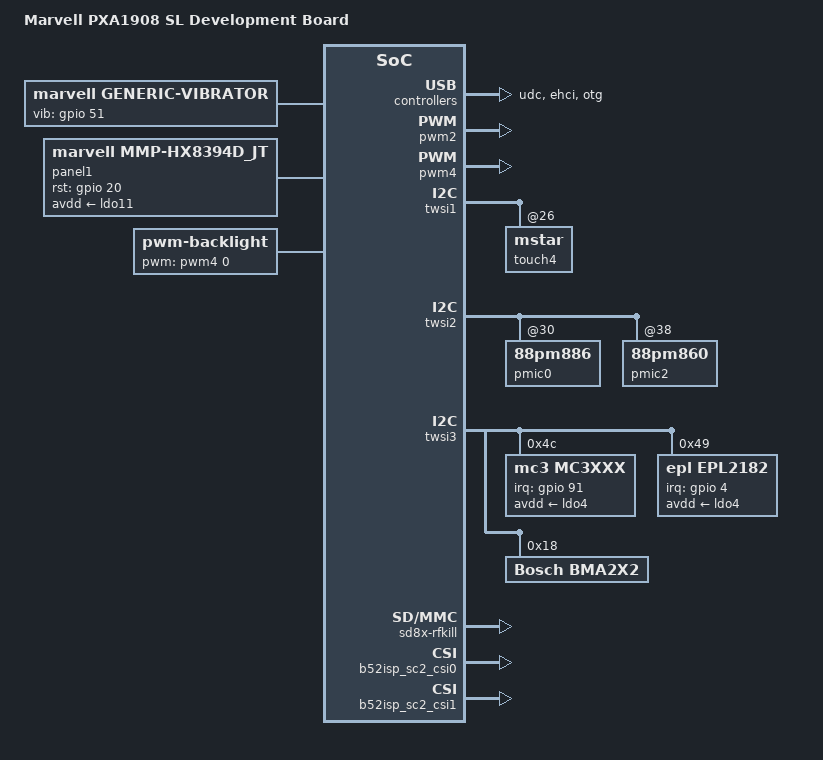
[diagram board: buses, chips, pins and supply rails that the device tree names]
/*
 *  Copyright (C) 2014 Marvell Technology Group Ltd.
 *  Author: Qiming Wu <wuqm@marvell.com>
 *
 *  This program is free software; you can redistribute it and/or modify
 *  it under the terms of the GNU General Public License version 2 as
 *  publishhed by the Free Software Foundation.
 */

/dts-v1/;
/memreserve/ 0x08100000 0x00040000;	/* ramoops buffer (256KB) */
/memreserve/ 0x09000000 0x01000000;	/* GPU Reserved mem (16MB) */
/memreserve/ 0x17000000 0x01800000;	/* Frame buffer (24MB) */
/memreserve/ 0x0a000000 0x00080000;	/* CM3 shared buffer(512KB) */
#include "pxa1908-board-common.dtsi"

/ {
	model = "Marvell PXA1908 SL Development Board";
	compatible = "marvell,pxa1908";

	soc {
		axi@d4200000 {  /* AXI */
			/* SD card */
			sdh0: sdh@d4280000 {
				cd-gpios = <>;
				marvell,sdh-dtr-data = <PXA_MMC_TIMING_LEGACY PXA_SDH_DTR_26M PXA_SDH_DTR_52M 0 0 0 0 0>,
						<PXA_MMC_TIMING_SD_HS PXA_SDH_DTR_52M PXA_SDH_DTR_104M 0 0 0 0 0>,
						<PXA_MMC_TIMING_MAX PXA_SDH_DTR_PS_NONE PXA_SDH_DTR_104M 0 0 0 0 0>;
				/* as HW design, only SD Card's host has AIB_MMC register */
				marvell,sdh-quirks2 = <(
						SDHCI_QUIRK2_SET_AIB_MMC |
						SDHCI_QUIRK2_TUNING_ADMA_BROKEN |
						SDHCI_QUIRK2_TIMEOUT_SHORT |
						SDHCI_QUIRK2_DMA_CLOCK_FORCE_ON |
						SDHCI_QUIRK2_FIXED_VOLTAGE
						)>;
			};

			usbphy: usbphy@d4207000 {
				status = "okay";
			};

			udc: udc@d4208100 {
				status = "okay";
			};

			ehci: ehci@d4208100 {
				status = "okay";
			};

			otg: otg@d4208100 {
				status = "okay";
			};
		};

		apb@d4000000 {
			pwm2: pwm@d401a400 {
				compatible = "marvell,pxa25x-pwm";
				reg = <0xd401a400 0x10>;
				#pwm-cells = <2>;
				clocks = <&soc_clocks PXA1U88_CLK_PWM1>;
				status = "okay";
			};
		        pwm4: pwm@d401ac00 {
                                pinctrl-names = "default"; pinctrl-0 = <&pwm4_pins>;
                                status = "okay";
                        };

			keypad: keypad@d4012000 {
				marvell,direct-keys;
				marvell,direct-key-low-active;
				marvell,keypad-lpm-mod;
				marvell,direct-key-count = <2>;
				marvell,direct-key-mask = <0xff>;
				marvell,direct-key-map = < 0x72
							   0x73>;
				marvell,debounce-interval = <30>;
				pinctrl-names = "default";
				pinctrl-0 = <&keypad_in_func>;
				status = "okay";
			};

			pmx: pinmux@d401e000 {
				mfp_pins_group_0: mfp_pins_group_0 {
					pinctrl-single,pins = <
						DF_IO9 AF0
						DF_IO10 AF0
						DF_IO11 AF0
						DF_IO12 AF0
						DF_IO13 AF0
						DF_IO15 AF0
					>;
					DS_MEDIUM;PULL_DOWN;EDGE_NONE;LPM_NONE;
				};

				pwm2_pin: pwm2_pin {
					pinctrl-single,pins = <
						GPIO51 AF2
					>;
					MFP_DEFAULT;
				};

			        pwm4_pins: pwm4_pin {
                                        pinctrl-single,pins = <
                                                DF_IO8 AF4
                                        >;
                                        MFP_DEFAULT;
                                };

				sspa1_func: sspa1_func {
					pinctrl-single,pins = <
						GPIO25 AF7
						GPIO26 AF7
						GPIO27 AF7
						GPIO28 AF7
					>;
					DS_MEDIUM;PULL_NONE;EDGE_NONE;LPM_NONE;
				};
			};

			twsi1: i2c@d4010800 {
				touch2: msg2133@26 {
					focaltech,virtual_key_cfg = <1>;
					status = "disable";
				};
				touch4: mstar@26 {
					/*mstar,virtual_key_cfg = <1>;*/
					status = "okay";
				};
			};

			twsi2: i2c@d4037000 {
				pmic0: 88pm886@30 {
					status = "okay";
				};
				pmic2: 88pm860@38 {
					status = "okay";
				};
			};

			twsi3: i2c@d4013800 {
				mc3xxx@4c {
					compatible = "mc3, mc3xxx";
					reg = <0x4c>;
					interrupt-parent = <&gpio>;
					interrupts = <91 0x1>;
					irq-gpios = <&gpio 91 0>;
					avdd-supply = <&ldo4>;
					orientation = <5>;
					status = "okay";
				};
				epl2182@49 {
					compatible = "epl,epl2182";
					reg = <0x49>;
					interrupt-parent = <&gpio>;
					interrupts = <4 0x1>;
					irq-gpios = <&gpio 4 0>;
					avdd-supply = <&ldo4>;
				};
				bma2x2@18 {
					compatible = "Bosch, bma2x2";
					reg = <0x18>;
					status = "okay";
				};
			};
		};
	};

        vibrator {
                compatible = "marvell,generic-vibrator";
                vib_gpio = <&gpio 51 0>;
                min_timeout = <20>;
                status = "okay";
        };

	panel1: hx8394d_jt {
		compatible = "marvell,mmp-hx8394d_jt";
		marvell,path-name = "mmp_pnpath";
		panel_esd = <1>;
		panel_name = "marvell,lcd_hx8394_inx_sl50v00";
		rst_gpio = <&gpio 20 0>;
		avdd-supply = <&ldo11>;
		status = "okay";
		};

	sd8x-rfkill {
		sd-host = <&sdh1>;
		pd-gpio = <&gpio 7 0>;
		wib_3v3-supply = <&ldo15>;
		wib_1v8-supply = <&buck2>;
		3v3-ldo-gpio = <&gpio 14 0>;
		edge-wakeup-gpio = <&gpio 39 0>;
		status = "okay";
	};

        backlight: pwm-bl {
                compatible = "pwm-backlight";
                pwms = <&pwm4 0 100000>;

                brightness-levels = <0 2 4 6 8 10 12 14 16 18 20 22 24 26 28 30 32 34 36 38 40 42 44 46 48 50 52 54 56 58 60 62 64 66 68 70 72 74 76 78 80 82 84 86 88 90 92 94 96 98 100>;
                default-brightness-level = <40>;
        };

	mcam0:mcam@0 {
		status = "disable";
	};

	mcam1:mcam@1 {
		sc2-i2c-dyn-ctrl;
		pwdn-gpios = <&gpio 70 0>;
		reset-gpios = <&gpio 69 0>;

		af_2v8-supply = <&ldo11>;
		avdd_2v8-supply = <&ldo10>;
		dovdd_1v8-supply = <&ldo9>;
		dvdd_1v2-supply = <&ldo8>;

		dphy_val = <0x1003 0x0011 0x1001>;
		status = "okay";
	};

	soc-camera@0 {
		status = "okay";
	};

	soc-camera@1 {
		status = "okay";
	};

	soc-camera@2 {
		status = "okay";
	};

	soc-camera@3 {
		status = "okay";
	};
	soc-camera@4 {
		status = "okay";
	};

	plat_cam {
		status = "okay";
		backsensor {
			compatible = "marvell,backsensor";
			#address-cells = <1>;
			#size-cells = <0>;
			status = "okay";

			OV5670: sensor@0 {
				compatible = "ovt,ov5670";
				status = "okay";
				clocks = <&soc_clocks PXA1U88_CLK_SC2_MCLK>;
				clock-names =  "SC2MCLK";
				reg = <0x36>;
				sc2-i2c-dyn-ctrl;
				adapter = <0x1>;
				sensor-pos = <1>;
				mclk = <26000000>;
				dphy3 = <0x1500>;
				dphy5 = <0xff>;
				dphy6 = <0x1001>;
				af_2v8-supply = <&ldo11>;
				avdd_2v8-supply = <&ldo10>;
				dovdd_1v8-supply = <&ldo9>;
				dvdd_1v2-supply = <&ldo8>;
				pwdn-gpios = <&gpio 68 1>;
				reset-gpios = <&gpio 67 1>;
			};
			HI551: sensor@1 {
				compatible = "hynix,hi551";
				status = "okay";
				clocks = <&soc_clocks PXA1U88_CLK_SC2_MCLK>;
				clock-names =  "SC2MCLK";
				reg = <0x20>;
				sc2-i2c-dyn-ctrl;
				adapter = <0x1>;
				sensor-pos = <1>;
				mclk = <26000000>;
				dphy3 = <0x1500>;
				dphy5 = <0xff>;
				dphy6 = <0x1001>;
				af_2v8-supply = <&ldo11>;
				avdd_2v8-supply = <&ldo10>;
				dovdd_1v8-supply = <&ldo9>;
				dvdd_1v2-supply = <&ldo8>;
				pwdn-gpios = <&gpio 68 1>;
				reset-gpios = <&gpio 67 1>;
			};
			OV8858R2A: sensor@2 {
				compatible = "ovt,ov8858r2a";
				status = "okay";
				clocks = <&soc_clocks PXA1U88_CLK_SC2_MCLK>;
				clock-names =  "SC2MCLK";
				reg = <0x10>;
				sc2-i2c-dyn-ctrl;
				adapter = <0x1>;
				sensor-pos = <1>;
				mclk = <26000000>;
				dphy3 = <0x1500>;
				dphy5 = <0xff>;
				dphy6 = <0x1001>;
				af_2v8-supply = <&ldo11>;
				avdd_2v8-supply = <&ldo10>;
				dovdd_1v8-supply = <&ldo9>;
				dvdd_1v2-supply = <&ldo8>;
				pwdn-gpios = <&gpio 68 1>;
				reset-gpios = <&gpio 67 1>;
			};
		};

		frontsensor {
			compatible = "marvell,frontsensor";
			#address-cells = <1>;
			#size-cells = <0>;
			status = "okay";
			OV2680f: sensor@0 {
				compatible = "ovt,ov2680";
				status = "okay";
				clocks = <&soc_clocks PXA1U88_CLK_SC2_MCLK>;
				clock-names =  "SC2MCLK";
				reg = <0x36>;
				sc2-i2c-dyn-ctrl;
				adapter = <0x1>;
				sensor-pos = <1>;
				mclk = <26000000>;
				dphy3 = <0xff1d00>;
				dphy5 = <0x00024733>;
				dphy6 = <0x4001001>;
				af_2v8-supply = <&ldo11>;
				avdd_2v8-supply = <&ldo10>;
				dovdd_1v8-supply = <&ldo9>;
				dvdd_1v2-supply = <&ldo8>;
				pwdn-gpios = <&gpio 70 1>;
				reset-gpios = <&gpio 69 1>;
			};
		};
	};

	b52isp_sc2_csi0 {
	        status = "okay";
	};
	b52isp_sc2_csi1 {
			csi_mux_repacked;
	        status = "okay";
	};
	b52isp_sc2_dma0 {
	        status = "okay";
	};
	b52isp_sc2_dma1 {
	        status = "okay";
	};
};
#include "88pm88x.dtsi"
#include "88pm886.dtsi"
#include "88pm88x_battery_common.dtsi"
#include "88pm88x_445457plg.dtsi"
#include "88pm886_pxa1908_sl.dtsi"
